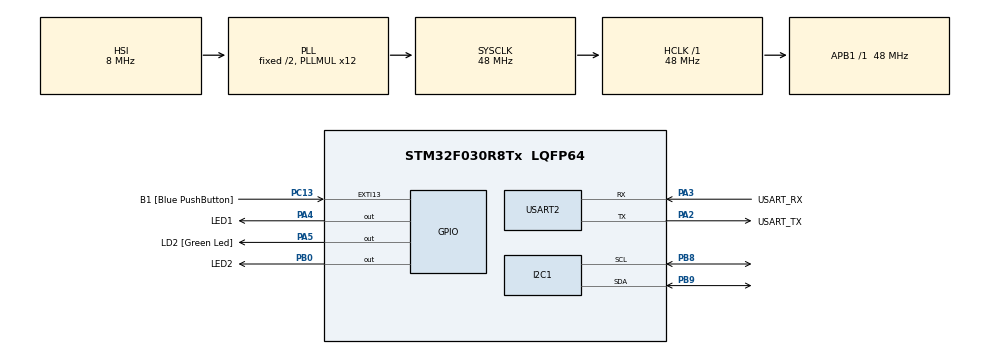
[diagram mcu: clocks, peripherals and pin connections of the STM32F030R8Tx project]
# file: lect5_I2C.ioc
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Dma.Request0=USART2_RX
Dma.USART2_RX.0.Direction=DMA_PERIPH_TO_MEMORY
Dma.USART2_RX.0.Instance=DMA1_Channel5
Dma.USART2_RX.0.MemDataAlignment=DMA_MDATAALIGN_BYTE
Dma.USART2_RX.0.MemInc=DMA_MINC_ENABLE
Dma.USART2_RX.0.Mode=DMA_CIRCULAR
Dma.USART2_RX.0.PeriphDataAlignment=DMA_PDATAALIGN_BYTE
Dma.USART2_RX.0.PeriphInc=DMA_PINC_DISABLE
Dma.USART2_RX.0.Priority=DMA_PRIORITY_LOW
I2C1.Timing=0x00201D2B
Mcu.Family=STM32F0
Mcu.Name=STM32F030R8Tx
Mcu.Package=LQFP64
NVIC.DMA1_Channel4_5_IRQn=true\:0\:0\:false\:false\:true\:false\:true\:true
PA13.GPIO_Label=TMS
PA13.Mode=Serial_Wire
PA13.Signal=SYS_SWDIO
PA14.GPIO_Label=TCK
PA14.Mode=Serial_Wire
PA14.Signal=SYS_SWCLK
PA2.GPIO_Label=USART_TX
PA2.GPIO_Mode=GPIO_MODE_AF_PP
PA2.GPIO_PuPd=GPIO_NOPULL
PA2.GPIO_Speed=GPIO_SPEED_FREQ_LOW
PA2.Mode=Asynchronous
PA2.Signal=USART2_TX
PA3.GPIO_Label=USART_RX
PA3.GPIO_Mode=GPIO_MODE_AF_PP
PA3.GPIO_PuPd=GPIO_NOPULL
PA3.GPIO_Speed=GPIO_SPEED_FREQ_LOW
PA3.Mode=Asynchronous
PA3.Signal=USART2_RX
PA4.GPIO_Label=LED1
PA4.Signal=GPIO_Output
PA5.GPIO_Label=LD2 [Green Led]
PA5.GPIO_Mode=GPIO_MODE_OUTPUT_PP
PA5.GPIO_PuPd=GPIO_NOPULL
PA5.GPIO_Speed=GPIO_SPEED_FREQ_LOW
PA5.Signal=GPIO_Output
PB0.GPIO_Label=LED2
PB0.Signal=GPIO_Output
PB8.Mode=I2C
PB8.Signal=I2C1_SCL
PB9.Mode=I2C
PB9.Signal=I2C1_SDA
PC13.GPIO_Label=B1 [Blue PushButton]
PC13.GPIO_ModeDefaultEXTI=GPIO_MODE_IT_FALLING
PC13.Signal=GPXTI13
PC14-OSC32_IN.Mode=LSE-External-Oscillator
PC14-OSC32_IN.Signal=RCC_OSC32_IN
PC15-OSC32_OUT.Mode=LSE-External-Oscillator
PC15-OSC32_OUT.Signal=RCC_OSC32_OUT
PF0-OSC_IN.Mode=HSE-External-Clock-Source
PF0-OSC_IN.Signal=RCC_OSC_IN
PF1-OSC_OUT.Signal=RCC_OSC_OUT
ProjectManager.HeapSize=0x200
ProjectManager.StackSize=0x400
ProjectManager.TargetToolchain=STM32CubeIDE
RCC.AHBFreq_Value=48000000
RCC.APB1Freq_Value=48000000
RCC.APB1TimFreq_Value=48000000
RCC.HCLKFreq_Value=48000000
RCC.PLLMUL=RCC_PLL_MUL12
RCC.SYSCLKFreq_VALUE=48000000
RCC.SYSCLKSource=RCC_SYSCLKSOURCE_PLLCLK
USART2.VirtualMode-Asynchronous=VM_ASYNC
board=NUCLEO-F030R8

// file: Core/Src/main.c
/* USER CODE BEGIN Header */
/**
 ******************************************************************************
 * @file           : main.c
 * @brief          : Main program body
 ******************************************************************************
 * @attention
 *
 * Copyright (c) 2024 STMicroelectronics.
 * All rights reserved.
 *
 * This software is licensed under terms that can be found in the LICENSE file
 * in the root directory of this software component.
 * If no LICENSE file comes with this software, it is provided AS-IS.
 *
 ******************************************************************************
 */
/* USER CODE END Header */
#include "main.h"

/* USER CODE BEGIN Includes */
#include <stdio.h>
#include <stdlib.h>
#include <string.h>
/* USER CODE END Includes */

/* USER CODE BEGIN PD */
#define RX_BUFFER_LEN 64
#define CMD_BUFFER_LEN (RX_BUFFER_LEN)
#define uart_rx_write_ptr (RX_BUFFER_LEN - hdma_usart2_rx.Instance->CNDTR)
#define EEPROM_ADDR 0xA0
/* USER CODE END PD */

I2C_HandleTypeDef hi2c1;

UART_HandleTypeDef huart2;
DMA_HandleTypeDef hdma_usart2_rx;

/* USER CODE BEGIN PV */
static uint8_t uart_rx_buf[RX_BUFFER_LEN];
static volatile uint16_t uart_rx_read_ptr = 0;
/* USER CODE END PV */

void SystemClock_Config(void);
static void MX_GPIO_Init(void);
static void MX_DMA_Init(void);
static void MX_USART2_UART_Init(void);
static void MX_I2C1_Init(void);

/* USER CODE BEGIN 0 */

int _write(int file, char const *buf, int n){
	/* stdout redirection to UART2 */
	HAL_UART_Transmit(&huart2, (uint8_t*)(buf), n, HAL_MAX_DELAY);
	return n;
}

static void uart_process_command(const char *data){
	char *token;
	token = strtok(data, " ");
	uint8_t value;
	uint16_t addr;
	if (strcasecmp(token, "HELLO") == 0) {
		printf("Communication OK\n");
	}else if (strcasecmp(token, "LED1") == 0) {
		token = strtok(NULL, " ");
		if (strcasecmp(token, "ON") == 0) {
			HAL_GPIO_WritePin(LED1_GPIO_Port, LED1_Pin, 1);
		} else if (strcasecmp(token, "OFF") == 0) {
			HAL_GPIO_WritePin(LED1_GPIO_Port, LED1_Pin, 0);
		}
		printf("OK\n");

	}else if (strcasecmp(token, "LED2") == 0) {
		token = strtok(NULL, " ");
		if (strcasecmp(token, "ON") == 0) {
			HAL_GPIO_WritePin(LED2_GPIO_Port, LED2_Pin, 1);
		} else if (strcasecmp(token, "OFF") == 0) {
			HAL_GPIO_WritePin(LED2_GPIO_Port, LED2_Pin, 0);
		}
		printf("OK\n");

	}else if (strcasecmp(token, "STATUS") == 0) {
		if (HAL_GPIO_ReadPin(LED1_GPIO_Port, LED1_Pin)) {
			printf("LED1 ON\n");
		} else

			printf("LED1 OFF\n");

		if (HAL_GPIO_ReadPin(LED2_GPIO_Port, LED2_Pin)) {
			printf("LED2 ON\n");
		} else

			printf("LED2 OFF\n");

	}else if (strcasecmp(token, "READ") == 0) {
		token = strtok(NULL, " ");
		addr = atoi(token);
		HAL_I2C_Mem_Read( &hi2c1, EEPROM_ADDR, addr, I2C_MEMADD_SIZE_16BIT, &value, sizeof(value), 1000);
		printf("Addr: 0x%02X = 0x%02X \n", addr, value);

	}else if (strcasecmp(token, "WRITE") == 0) {
		addr = atoi(strtok(NULL, " "));
		value = atoi(strtok(NULL, " "));

		HAL_I2C_Mem_Write(&hi2c1, EEPROM_ADDR, addr, I2C_MEMADD_SIZE_16BIT, &value, 1, 1000);
		while (HAL_I2C_IsDeviceReady(&hi2c1, EEPROM_ADDR, 300, 1000) == HAL_TIMEOUT) {}

		printf("Oke \n", addr, value);

	}else if (strcasecmp(token, "DUMP") == 0) {
		uint8_t dump[16];

		HAL_I2C_Mem_Read(&hi2c1, EEPROM_ADDR, addr, I2C_MEMADD_SIZE_16BIT, dump, 16, 1000);
		uint32_t i;
        for(i=0; i<16; i++){
           printf(" 0x%02X", dump[i]);
           if(i == 7){
        	   printf("\n");
           }

        }
        printf("\n");

	}

	//printf("received: '%s'\n", data);

}

static void uart_byte_available(uint8_t c){
	static uint16_t cnt;
	static char data[CMD_BUFFER_LEN];
	if (cnt < CMD_BUFFER_LEN && c >= 32 && c <= 126) data[cnt++] = c;
	if ((c == '\n' || c == '\r') && cnt > 0) {
		data[cnt] = '\0';
		uart_process_command(data);
		cnt = 0;
	}
}
/* USER CODE END 0 */

int main(void)
{

	/* MCU Configuration--------------------------------------------------------*/

	/* Reset of all peripherals, Initializes the Flash interface and the Systick. */
	HAL_Init();

	/* Configure the system clock */
	SystemClock_Config();

	/* Initialize all configured peripherals */
	MX_GPIO_Init();
	MX_DMA_Init();
	MX_USART2_UART_Init();
	MX_I2C1_Init();
	/* USER CODE BEGIN 2 */
	HAL_UART_Receive_DMA(&huart2, uart_rx_buf, RX_BUFFER_LEN);
	/* USER CODE END 2 */

	/* Infinite loop */
	/* USER CODE BEGIN WHILE */
	while (1)
	{
		/*  uint8_t c;
	  HAL_UART_Receive(&huart2, &c, 1, HAL_MAX_DELAY);
	  HAL_UART_Transmit(&huart2, &c, 1, HAL_MAX_DELAY);*/

		while (uart_rx_read_ptr != uart_rx_write_ptr) {
			uint8_t b = uart_rx_buf[uart_rx_read_ptr];

			if (++uart_rx_read_ptr >= RX_BUFFER_LEN) uart_rx_read_ptr = 0; // increase read pointer
			uart_byte_available(b); // process every received byte with the RX state machine
		}

		/* USER CODE END WHILE */

	}
}

void SystemClock_Config(void)
{
	RCC_OscInitTypeDef RCC_OscInitStruct = {0};
	RCC_ClkInitTypeDef RCC_ClkInitStruct = {0};
	RCC_PeriphCLKInitTypeDef PeriphClkInit = {0};

	/** Initializes the RCC Oscillators according to the specified parameters
	 * in the RCC_OscInitTypeDef structure.
	 */
	RCC_OscInitStruct.OscillatorType = RCC_OSCILLATORTYPE_HSI;
	RCC_OscInitStruct.HSIState = RCC_HSI_ON;
	RCC_OscInitStruct.HSICalibrationValue = RCC_HSICALIBRATION_DEFAULT;
	RCC_OscInitStruct.PLL.PLLState = RCC_PLL_ON;
	RCC_OscInitStruct.PLL.PLLSource = RCC_PLLSOURCE_HSI;
	RCC_OscInitStruct.PLL.PLLMUL = RCC_PLL_MUL12;
	RCC_OscInitStruct.PLL.PREDIV = RCC_PREDIV_DIV1;
	if (HAL_RCC_OscConfig(&RCC_OscInitStruct) != HAL_OK)
	{
		Error_Handler();
	}

	/** Initializes the CPU, AHB and APB buses clocks
	 */
	RCC_ClkInitStruct.ClockType = RCC_CLOCKTYPE_HCLK|RCC_CLOCKTYPE_SYSCLK
			|RCC_CLOCKTYPE_PCLK1;
	RCC_ClkInitStruct.SYSCLKSource = RCC_SYSCLKSOURCE_PLLCLK;
	RCC_ClkInitStruct.AHBCLKDivider = RCC_SYSCLK_DIV1;
	RCC_ClkInitStruct.APB1CLKDivider = RCC_HCLK_DIV1;

	if (HAL_RCC_ClockConfig(&RCC_ClkInitStruct, FLASH_LATENCY_1) != HAL_OK)
	{
		Error_Handler();
	}
	PeriphClkInit.PeriphClockSelection = RCC_PERIPHCLK_I2C1;
	PeriphClkInit.I2c1ClockSelection = RCC_I2C1CLKSOURCE_HSI;
	if (HAL_RCCEx_PeriphCLKConfig(&PeriphClkInit) != HAL_OK)
	{
		Error_Handler();
	}
}

static void MX_I2C1_Init(void)
{

	hi2c1.Instance = I2C1;
	hi2c1.Init.Timing = 0x00201D2B;
	hi2c1.Init.OwnAddress1 = 0;
	hi2c1.Init.AddressingMode = I2C_ADDRESSINGMODE_7BIT;
	hi2c1.Init.DualAddressMode = I2C_DUALADDRESS_DISABLE;
	hi2c1.Init.OwnAddress2 = 0;
	hi2c1.Init.OwnAddress2Masks = I2C_OA2_NOMASK;
	hi2c1.Init.GeneralCallMode = I2C_GENERALCALL_DISABLE;
	hi2c1.Init.NoStretchMode = I2C_NOSTRETCH_DISABLE;
	if (HAL_I2C_Init(&hi2c1) != HAL_OK)
	{
		Error_Handler();
	}

	/** Configure Analogue filter
	 */
	if (HAL_I2CEx_ConfigAnalogFilter(&hi2c1, I2C_ANALOGFILTER_ENABLE) != HAL_OK)
	{
		Error_Handler();
	}

	/** Configure Digital filter
	 */
	if (HAL_I2CEx_ConfigDigitalFilter(&hi2c1, 0) != HAL_OK)
	{
		Error_Handler();
	}

}

static void MX_USART2_UART_Init(void)
{

	huart2.Instance = USART2;
	huart2.Init.BaudRate = 38400;
	huart2.Init.WordLength = UART_WORDLENGTH_8B;
	huart2.Init.StopBits = UART_STOPBITS_1;
	huart2.Init.Parity = UART_PARITY_NONE;
	huart2.Init.Mode = UART_MODE_TX_RX;
	huart2.Init.HwFlowCtl = UART_HWCONTROL_NONE;
	huart2.Init.OverSampling = UART_OVERSAMPLING_16;
	huart2.Init.OneBitSampling = UART_ONE_BIT_SAMPLE_DISABLE;
	huart2.AdvancedInit.AdvFeatureInit = UART_ADVFEATURE_NO_INIT;
	if (HAL_UART_Init(&huart2) != HAL_OK)
	{
		Error_Handler();
	}

}

static void MX_DMA_Init(void)
{

	/* DMA controller clock enable */
	__HAL_RCC_DMA1_CLK_ENABLE();

	/* DMA interrupt init */
	/* DMA1_Channel4_5_IRQn interrupt configuration */
	HAL_NVIC_SetPriority(DMA1_Channel4_5_IRQn, 0, 0);
	HAL_NVIC_EnableIRQ(DMA1_Channel4_5_IRQn);

}

static void MX_GPIO_Init(void)
{
	GPIO_InitTypeDef GPIO_InitStruct = {0};

	/* GPIO Ports Clock Enable */
	__HAL_RCC_GPIOC_CLK_ENABLE();
	__HAL_RCC_GPIOF_CLK_ENABLE();
	__HAL_RCC_GPIOA_CLK_ENABLE();
	__HAL_RCC_GPIOB_CLK_ENABLE();

	/*Configure GPIO pin Output Level */
	HAL_GPIO_WritePin(GPIOA, LED1_Pin|LD2_Pin, GPIO_PIN_RESET);

	/*Configure GPIO pin Output Level */
	HAL_GPIO_WritePin(LED2_GPIO_Port, LED2_Pin, GPIO_PIN_RESET);

	/*Configure GPIO pin : B1_Pin */
	GPIO_InitStruct.Pin = B1_Pin;
	GPIO_InitStruct.Mode = GPIO_MODE_IT_FALLING;
	GPIO_InitStruct.Pull = GPIO_NOPULL;
	HAL_GPIO_Init(B1_GPIO_Port, &GPIO_InitStruct);

	/*Configure GPIO pins : LED1_Pin LD2_Pin */
	GPIO_InitStruct.Pin = LED1_Pin|LD2_Pin;
	GPIO_InitStruct.Mode = GPIO_MODE_OUTPUT_PP;
	GPIO_InitStruct.Pull = GPIO_NOPULL;
	GPIO_InitStruct.Speed = GPIO_SPEED_FREQ_LOW;
	HAL_GPIO_Init(GPIOA, &GPIO_InitStruct);

	/*Configure GPIO pin : LED2_Pin */
	GPIO_InitStruct.Pin = LED2_Pin;
	GPIO_InitStruct.Mode = GPIO_MODE_OUTPUT_PP;
	GPIO_InitStruct.Pull = GPIO_NOPULL;
	GPIO_InitStruct.Speed = GPIO_SPEED_FREQ_LOW;
	HAL_GPIO_Init(LED2_GPIO_Port, &GPIO_InitStruct);

}

void Error_Handler(void)
{
	__disable_irq();
	while (1)
	{
	}
}
